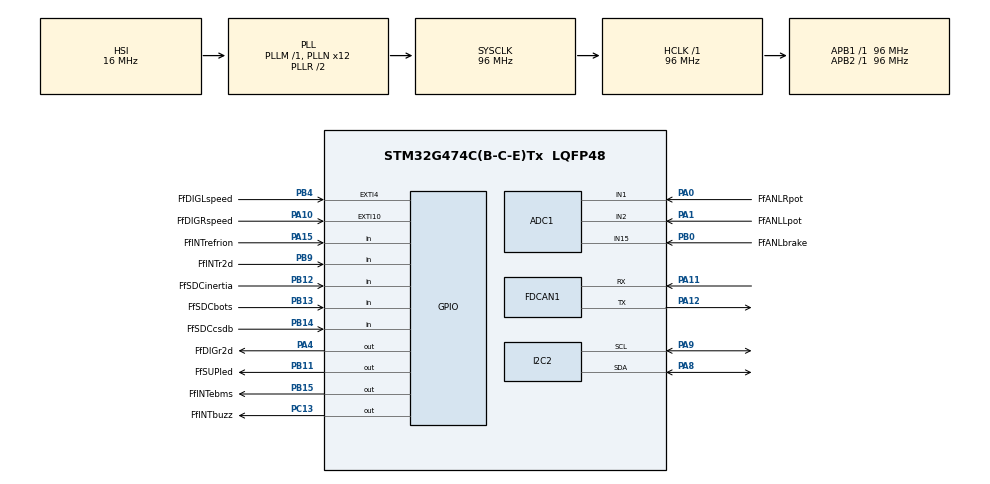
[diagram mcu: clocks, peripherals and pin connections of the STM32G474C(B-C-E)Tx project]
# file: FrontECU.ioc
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ADC1.Channel-0\#ChannelRegularConversion=ADC_CHANNEL_15
ADC1.Channel-1\#ChannelRegularConversion=ADC_CHANNEL_1
ADC1.Channel-2\#ChannelRegularConversion=ADC_CHANNEL_2
ADC1.ContinuousConvMode=ENABLE
ADC1.DMAContinuousRequests=ENABLE
ADC1.NbrOfConversion=3
ADC1.NbrOfConversionFlag=1
ADC1.OffsetNumber-0\#ChannelRegularConversion=ADC_OFFSET_NONE
ADC1.OffsetNumber-1\#ChannelRegularConversion=ADC_OFFSET_NONE
ADC1.OffsetNumber-2\#ChannelRegularConversion=ADC_OFFSET_NONE
ADC1.Overrun=ADC_OVR_DATA_OVERWRITTEN
ADC1.Rank-0\#ChannelRegularConversion=1
ADC1.Rank-1\#ChannelRegularConversion=2
ADC1.Rank-2\#ChannelRegularConversion=3
ADC1.SamplingTime-0\#ChannelRegularConversion=ADC_SAMPLETIME_247CYCLES_5
ADC1.SamplingTime-1\#ChannelRegularConversion=ADC_SAMPLETIME_247CYCLES_5
ADC1.SamplingTime-2\#ChannelRegularConversion=ADC_SAMPLETIME_247CYCLES_5
ADC1.master=1
Dma.ADC1.0.Direction=DMA_PERIPH_TO_MEMORY
Dma.ADC1.0.EventEnable=DISABLE
Dma.ADC1.0.Instance=DMA1_Channel1
Dma.ADC1.0.MemDataAlignment=DMA_MDATAALIGN_WORD
Dma.ADC1.0.MemInc=DMA_MINC_ENABLE
Dma.ADC1.0.Mode=DMA_CIRCULAR
Dma.ADC1.0.PeriphDataAlignment=DMA_PDATAALIGN_WORD
Dma.ADC1.0.PeriphInc=DMA_PINC_DISABLE
Dma.ADC1.0.Polarity=HAL_DMAMUX_REQ_GEN_RISING
Dma.ADC1.0.Priority=DMA_PRIORITY_LOW
Dma.ADC1.0.RequestNumber=1
Dma.ADC1.0.SignalID=NONE
Dma.ADC1.0.SyncEnable=DISABLE
Dma.ADC1.0.SyncPolarity=HAL_DMAMUX_SYNC_NO_EVENT
Dma.ADC1.0.SyncRequestNumber=1
Dma.ADC1.0.SyncSignalID=NONE
Dma.Request0=ADC1
FDCAN1.AutoRetransmission=ENABLE
FDCAN1.CalculateBaudRateNominal=250000
FDCAN1.CalculateTimeBitNominal=4000
FDCAN1.CalculateTimeQuantumNominal=250.0
FDCAN1.NominalPrescaler=12
FDCAN1.NominalTimeSeg1=13
FDCAN1.NominalTimeSeg2=2
I2C2.I2C_Coeff_DF=2
I2C2.I2C_Rise_Time=400
I2C2.Timing=0x00A03B51
Mcu.Family=STM32G4
Mcu.Name=STM32G474C(B-C-E)Tx
Mcu.Package=LQFP48
NVIC.DMA1_Channel1_IRQn=true\:0\:0\:false\:false\:true\:false\:true\:true
NVIC.EXTI15_10_IRQn=true\:0\:0\:false\:false\:true\:true\:true\:true
NVIC.EXTI4_IRQn=true\:0\:0\:false\:false\:true\:true\:true\:true
NVIC.FDCAN1_IT0_IRQn=true\:0\:0\:false\:false\:true\:true\:true\:true
NVIC.FDCAN1_IT1_IRQn=true\:0\:0\:false\:false\:true\:true\:true\:true
NVIC.PriorityGroup=NVIC_PRIORITYGROUP_4
PA0.GPIO_Label=FfANLRpot
PA0.Mode=IN1-Single-Ended
PA0.Signal=ADC1_IN1
PA1.GPIO_Label=FfANLLpot
PA1.Mode=IN2-Single-Ended
PA1.Signal=ADC1_IN2
PA10.GPIO_Label=FfDIGRspeed
PA10.GPIO_ModeDefaultEXTI=GPIO_MODE_IT_RISING_FALLING
PA10.Signal=GPXTI10
PA11.Mode=FDCAN_Activate
PA11.Signal=FDCAN1_RX
PA12.Mode=FDCAN_Activate
PA12.Signal=FDCAN1_TX
PA13.Mode=Trace_Asynchronous_SW
PA13.Signal=SYS_JTMS-SWDIO
PA14.Mode=Trace_Asynchronous_SW
PA14.Signal=SYS_JTCK-SWCLK
PA15.GPIO_Label=FfINTrefrion
PA15.Signal=GPIO_Input
PA4.GPIO_Label=FfDIGr2d
PA4.Signal=GPIO_Output
PA8.Mode=I2C
PA8.Signal=I2C2_SDA
PA9.Mode=I2C
PA9.Signal=I2C2_SCL
PB0.GPIO_Label=FfANLbrake
PB0.Mode=IN15-Single-Ended
PB0.Signal=ADC1_IN15
PB11.GPIO_Label=FfSUPled
PB11.Signal=GPIO_Output
PB12.GPIO_Label=FfSDCinertia
PB12.Signal=GPIO_Input
PB13.GPIO_Label=FfSDCbots
PB13.Signal=GPIO_Input
PB14.GPIO_Label=FfSDCcsdb
PB14.Signal=GPIO_Input
PB15.GPIO_Label=FfINTebms
PB15.Signal=GPIO_Output
PB3.Mode=Trace_Asynchronous_SW
PB3.Signal=SYS_JTDO-SWO
PB4.GPIO_Label=FfDIGLspeed
PB4.GPIO_ModeDefaultEXTI=GPIO_MODE_IT_RISING_FALLING
PB4.Signal=GPXTI4
PB9.GPIO_Label=FfINTr2d
PB9.Signal=GPIO_Input
PC13.GPIO_Label=FfINTbuzz
PC13.Signal=GPIO_Output
PF0-OSC_IN.Mode=HSE-External-Oscillator
PF0-OSC_IN.Signal=RCC_OSC_IN
PF1-OSC_OUT.Mode=HSE-External-Oscillator
PF1-OSC_OUT.Signal=RCC_OSC_OUT
ProjectManager.HeapSize=0x200
ProjectManager.StackSize=0x400
ProjectManager.TargetToolchain=STM32CubeIDE
RCC.ADC12Freq_Value=96000000
RCC.ADC345Freq_Value=96000000
RCC.AHBFreq_Value=96000000
RCC.APB1Freq_Value=96000000
RCC.APB1TimFreq_Value=96000000
RCC.APB2Freq_Value=96000000
RCC.APB2TimFreq_Value=96000000
RCC.CortexFreq_Value=96000000
RCC.EXTERNAL_CLOCK_VALUE=12288000
RCC.FDCANCLockSelection=RCC_FDCANCLKSOURCE_PLL
RCC.HCLKFreq_Value=96000000
RCC.HSE_VALUE=8000000
RCC.HSI48_VALUE=48000000
RCC.HSI_VALUE=16000000
RCC.I2C2CLockSelection=RCC_I2C2CLKSOURCE_HSI
RCC.LSE_VALUE=32768
RCC.PLLN=12
RCC.PLLQ=RCC_PLLQ_DIV4
RCC.SYSCLKFreq_VALUE=96000000
RCC.SYSCLKSource=RCC_SYSCLKSOURCE_PLLCLK
RCC.USBFreq_Value=48000000
RCC.VCOOutputFreq_Value=192000000
TIM1.Prescaler=96
TIM3.Prescaler=96
VP_SYS_VS_DBSignals.Mode=DisableDeadBatterySignals
VP_TIM1_VS_ClockSourceINT.Mode=Internal
VP_TIM3_VS_ClockSourceINT.Mode=Internal
board=custom

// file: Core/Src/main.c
/* USER CODE BEGIN Header */
/**
  ******************************************************************************
  * @file           : main.c
  * @brief          : Main program body
  ******************************************************************************
  * @attention
  *
  * Copyright (c) 2026 STMicroelectronics.
  * All rights reserved.
  *
  * This software is licensed under terms that can be found in the LICENSE file
  * in the root directory of this software component.
  * If no LICENSE file comes with this software, it is provided AS-IS.
  *
  ******************************************************************************
  */
/* USER CODE END Header */
#include "main.h"

/* USER CODE BEGIN Includes */
#include "f2p.h"
#include "can.h"
#include "p2f.h"
#include "i2c-lcd.h"
/* USER CODE END Includes */

ADC_HandleTypeDef hadc1;
DMA_HandleTypeDef hdma_adc1;

FDCAN_HandleTypeDef hfdcan1;

I2C_HandleTypeDef hi2c2;

TIM_HandleTypeDef htim1;
TIM_HandleTypeDef htim3;

/* USER CODE BEGIN PV */
#define ADCDMA_CH1 3
uint32_t DICCDMA[ADCDMA_CH1] = {0};
uint32_t LastCANSendTime = 0;
uint16_t numberOfCANMessagesSent=0;
#define TIMDMA_Buff 100
static volatile uint16_t TIMDMA1[100] = {0};
static volatile uint16_t TIMDMA3[100] = {0};

volatile DICCF_t DICCF = {0};
volatile DICCP_t DICCP = {0};

/* USER CODE END PV */

void SystemClock_Config(void);
static void MX_GPIO_Init(void);
static void MX_DMA_Init(void);
static void MX_FDCAN1_Init(void);
static void MX_ADC1_Init(void);
static void MX_I2C2_Init(void);
static void MX_TIM1_Init(void);
static void MX_TIM3_Init(void);

int main(void)
{

  /* MCU Configuration--------------------------------------------------------*/

  /* Reset of all peripherals, Initializes the Flash interface and the Systick. */
  HAL_Init();

  /* Configure the system clock */
  SystemClock_Config();

  /* Initialize all configured peripherals */
  MX_GPIO_Init();
  MX_DMA_Init();
  MX_FDCAN1_Init();
  MX_ADC1_Init();
  MX_I2C2_Init();
  MX_TIM1_Init();
  MX_TIM3_Init();
  /* USER CODE BEGIN 2 */

  CAN_Init_Custom(&hfdcan1);

  lcd_init();

  HAL_ADCEx_Calibration_Start(&hadc1, ADC_SINGLE_ENDED);

  HAL_ADC_Start_DMA(&hadc1, (uint32_t *)DICCDMA, 3);

  HAL_TIM_IC_Start_DMA(&htim1, TIM_CHANNEL_3, (uint32_t *)TIMDMA1, 100);
  HAL_TIM_IC_Start_DMA(&htim3, TIM_CHANNEL_1, (uint32_t *)TIMDMA3, 100);

  HAL_GPIO_WritePin(GPIOC, FfINTbuzz_Pin, GPIO_PIN_RESET);

  /* USER CODE END 2 */

  /* Infinite loop */
  while (1)
  {

    /* USER CODE BEGIN 3 */

	  HAL_GPIO_WritePin(GPIOB, FfSUPled_Pin, GPIO_PIN_SET);

	  uint8_t Msg1[5] = {0};
	  uint8_t Msg2[5] = {0};
	  uint8_t Msg3[4] = {0};

	  DIG2DICCF(&DICCF);

	  DMA2DICCF(&DICCF, DICCDMA);

	  DICCF2DICCP(&DICCF, &DICCP);

	  Get_Speed(&DICCP);

	  APPS(&DICCF, &DICCP);

	  R2D(&DICCF, &DICCP);

	  CAN_Msg_Maker(&DICCP, Msg1, Msg2, Msg3);

	  if((HAL_GetTick() - LastCANSendTime) >= 10)
	  	  {
		  	  CAN_Send(&hfdcan1, 0x100, Msg1, 5);

		  	  CAN_Send(&hfdcan1, 0x101, Msg2, 8);

		  	  CAN_Send(&hfdcan1, 0x102, Msg3, 3);

	  		  LastCANSendTime = HAL_GetTick();

	  		  numberOfCANMessagesSent++;

	  		  if(numberOfCANMessagesSent > 100)
	  		  {
	  			  /*HAL_GPIO_TogglePin(GPIOB, DfSUPled_Pin);*/
	  			  numberOfCANMessagesSent = 0;
	  		  }
	  	  }

	  PLC(&DICCP);

	  Display(&DICCF, &DICCP);

  }
  /* USER CODE END 3 */
}

void SystemClock_Config(void)
{
  RCC_OscInitTypeDef RCC_OscInitStruct = {0};
  RCC_ClkInitTypeDef RCC_ClkInitStruct = {0};

  /** Configure the main internal regulator output voltage
  */
  HAL_PWREx_ControlVoltageScaling(PWR_REGULATOR_VOLTAGE_SCALE1);

  /** Initializes the RCC Oscillators according to the specified parameters
  * in the RCC_OscInitTypeDef structure.
  */
  RCC_OscInitStruct.OscillatorType = RCC_OSCILLATORTYPE_HSI;
  RCC_OscInitStruct.HSIState = RCC_HSI_ON;
  RCC_OscInitStruct.HSICalibrationValue = RCC_HSICALIBRATION_DEFAULT;
  RCC_OscInitStruct.PLL.PLLState = RCC_PLL_ON;
  RCC_OscInitStruct.PLL.PLLSource = RCC_PLLSOURCE_HSI;
  RCC_OscInitStruct.PLL.PLLM = RCC_PLLM_DIV1;
  RCC_OscInitStruct.PLL.PLLN = 12;
  RCC_OscInitStruct.PLL.PLLP = RCC_PLLP_DIV2;
  RCC_OscInitStruct.PLL.PLLQ = RCC_PLLQ_DIV4;
  RCC_OscInitStruct.PLL.PLLR = RCC_PLLR_DIV2;
  if (HAL_RCC_OscConfig(&RCC_OscInitStruct) != HAL_OK)
  {
    Error_Handler();
  }

  /** Initializes the CPU, AHB and APB buses clocks
  */
  RCC_ClkInitStruct.ClockType = RCC_CLOCKTYPE_HCLK|RCC_CLOCKTYPE_SYSCLK
                              |RCC_CLOCKTYPE_PCLK1|RCC_CLOCKTYPE_PCLK2;
  RCC_ClkInitStruct.SYSCLKSource = RCC_SYSCLKSOURCE_PLLCLK;
  RCC_ClkInitStruct.AHBCLKDivider = RCC_SYSCLK_DIV1;
  RCC_ClkInitStruct.APB1CLKDivider = RCC_HCLK_DIV1;
  RCC_ClkInitStruct.APB2CLKDivider = RCC_HCLK_DIV1;

  if (HAL_RCC_ClockConfig(&RCC_ClkInitStruct, FLASH_LATENCY_3) != HAL_OK)
  {
    Error_Handler();
  }
}

static void MX_ADC1_Init(void)
{

  ADC_MultiModeTypeDef multimode = {0};
  ADC_ChannelConfTypeDef sConfig = {0};

  /** Common config
  */
  hadc1.Instance = ADC1;
  hadc1.Init.ClockPrescaler = ADC_CLOCK_SYNC_PCLK_DIV2;
  hadc1.Init.Resolution = ADC_RESOLUTION_12B;
  hadc1.Init.DataAlign = ADC_DATAALIGN_RIGHT;
  hadc1.Init.GainCompensation = 0;
  hadc1.Init.ScanConvMode = ADC_SCAN_ENABLE;
  hadc1.Init.EOCSelection = ADC_EOC_SINGLE_CONV;
  hadc1.Init.LowPowerAutoWait = DISABLE;
  hadc1.Init.ContinuousConvMode = ENABLE;
  hadc1.Init.NbrOfConversion = 3;
  hadc1.Init.DiscontinuousConvMode = DISABLE;
  hadc1.Init.ExternalTrigConv = ADC_SOFTWARE_START;
  hadc1.Init.ExternalTrigConvEdge = ADC_EXTERNALTRIGCONVEDGE_NONE;
  hadc1.Init.DMAContinuousRequests = ENABLE;
  hadc1.Init.Overrun = ADC_OVR_DATA_OVERWRITTEN;
  hadc1.Init.OversamplingMode = DISABLE;
  if (HAL_ADC_Init(&hadc1) != HAL_OK)
  {
    Error_Handler();
  }

  /** Configure the ADC multi-mode
  */
  multimode.Mode = ADC_MODE_INDEPENDENT;
  if (HAL_ADCEx_MultiModeConfigChannel(&hadc1, &multimode) != HAL_OK)
  {
    Error_Handler();
  }

  /** Configure Regular Channel
  */
  sConfig.Channel = ADC_CHANNEL_15;
  sConfig.Rank = ADC_REGULAR_RANK_1;
  sConfig.SamplingTime = ADC_SAMPLETIME_247CYCLES_5;
  sConfig.SingleDiff = ADC_SINGLE_ENDED;
  sConfig.OffsetNumber = ADC_OFFSET_NONE;
  sConfig.Offset = 0;
  if (HAL_ADC_ConfigChannel(&hadc1, &sConfig) != HAL_OK)
  {
    Error_Handler();
  }

  /** Configure Regular Channel
  */
  sConfig.Channel = ADC_CHANNEL_1;
  sConfig.Rank = ADC_REGULAR_RANK_2;
  if (HAL_ADC_ConfigChannel(&hadc1, &sConfig) != HAL_OK)
  {
    Error_Handler();
  }

  /** Configure Regular Channel
  */
  sConfig.Channel = ADC_CHANNEL_2;
  sConfig.Rank = ADC_REGULAR_RANK_3;
  if (HAL_ADC_ConfigChannel(&hadc1, &sConfig) != HAL_OK)
  {
    Error_Handler();
  }

}

static void MX_FDCAN1_Init(void)
{

  hfdcan1.Instance = FDCAN1;
  hfdcan1.Init.ClockDivider = FDCAN_CLOCK_DIV1;
  hfdcan1.Init.FrameFormat = FDCAN_FRAME_CLASSIC;
  hfdcan1.Init.Mode = FDCAN_MODE_NORMAL;
  hfdcan1.Init.AutoRetransmission = ENABLE;
  hfdcan1.Init.TransmitPause = DISABLE;
  hfdcan1.Init.ProtocolException = DISABLE;
  hfdcan1.Init.NominalPrescaler = 12;
  hfdcan1.Init.NominalSyncJumpWidth = 1;
  hfdcan1.Init.NominalTimeSeg1 = 13;
  hfdcan1.Init.NominalTimeSeg2 = 2;
  hfdcan1.Init.DataPrescaler = 1;
  hfdcan1.Init.DataSyncJumpWidth = 1;
  hfdcan1.Init.DataTimeSeg1 = 1;
  hfdcan1.Init.DataTimeSeg2 = 1;
  hfdcan1.Init.StdFiltersNbr = 0;
  hfdcan1.Init.ExtFiltersNbr = 0;
  hfdcan1.Init.TxFifoQueueMode = FDCAN_TX_FIFO_OPERATION;
  if (HAL_FDCAN_Init(&hfdcan1) != HAL_OK)
  {
    Error_Handler();
  }

}

static void MX_I2C2_Init(void)
{

  hi2c2.Instance = I2C2;
  hi2c2.Init.Timing = 0x00A03B51;
  hi2c2.Init.OwnAddress1 = 0;
  hi2c2.Init.AddressingMode = I2C_ADDRESSINGMODE_7BIT;
  hi2c2.Init.DualAddressMode = I2C_DUALADDRESS_DISABLE;
  hi2c2.Init.OwnAddress2 = 0;
  hi2c2.Init.OwnAddress2Masks = I2C_OA2_NOMASK;
  hi2c2.Init.GeneralCallMode = I2C_GENERALCALL_DISABLE;
  hi2c2.Init.NoStretchMode = I2C_NOSTRETCH_DISABLE;
  if (HAL_I2C_Init(&hi2c2) != HAL_OK)
  {
    Error_Handler();
  }

  /** Configure Analogue filter
  */
  if (HAL_I2CEx_ConfigAnalogFilter(&hi2c2, I2C_ANALOGFILTER_ENABLE) != HAL_OK)
  {
    Error_Handler();
  }

  /** Configure Digital filter
  */
  if (HAL_I2CEx_ConfigDigitalFilter(&hi2c2, 2) != HAL_OK)
  {
    Error_Handler();
  }

}

static void MX_TIM1_Init(void)
{

  TIM_ClockConfigTypeDef sClockSourceConfig = {0};
  TIM_MasterConfigTypeDef sMasterConfig = {0};

  htim1.Instance = TIM1;
  htim1.Init.Prescaler = 96;
  htim1.Init.CounterMode = TIM_COUNTERMODE_UP;
  htim1.Init.Period = 65535;
  htim1.Init.ClockDivision = TIM_CLOCKDIVISION_DIV1;
  htim1.Init.RepetitionCounter = 0;
  htim1.Init.AutoReloadPreload = TIM_AUTORELOAD_PRELOAD_DISABLE;
  if (HAL_TIM_Base_Init(&htim1) != HAL_OK)
  {
    Error_Handler();
  }
  sClockSourceConfig.ClockSource = TIM_CLOCKSOURCE_INTERNAL;
  if (HAL_TIM_ConfigClockSource(&htim1, &sClockSourceConfig) != HAL_OK)
  {
    Error_Handler();
  }
  sMasterConfig.MasterOutputTrigger = TIM_TRGO_RESET;
  sMasterConfig.MasterOutputTrigger2 = TIM_TRGO2_RESET;
  sMasterConfig.MasterSlaveMode = TIM_MASTERSLAVEMODE_DISABLE;
  if (HAL_TIMEx_MasterConfigSynchronization(&htim1, &sMasterConfig) != HAL_OK)
  {
    Error_Handler();
  }

}

static void MX_TIM3_Init(void)
{

  TIM_ClockConfigTypeDef sClockSourceConfig = {0};
  TIM_MasterConfigTypeDef sMasterConfig = {0};

  htim3.Instance = TIM3;
  htim3.Init.Prescaler = 96;
  htim3.Init.CounterMode = TIM_COUNTERMODE_UP;
  htim3.Init.Period = 65535;
  htim3.Init.ClockDivision = TIM_CLOCKDIVISION_DIV1;
  htim3.Init.AutoReloadPreload = TIM_AUTORELOAD_PRELOAD_DISABLE;
  if (HAL_TIM_Base_Init(&htim3) != HAL_OK)
  {
    Error_Handler();
  }
  sClockSourceConfig.ClockSource = TIM_CLOCKSOURCE_INTERNAL;
  if (HAL_TIM_ConfigClockSource(&htim3, &sClockSourceConfig) != HAL_OK)
  {
    Error_Handler();
  }
  sMasterConfig.MasterOutputTrigger = TIM_TRGO_RESET;
  sMasterConfig.MasterSlaveMode = TIM_MASTERSLAVEMODE_DISABLE;
  if (HAL_TIMEx_MasterConfigSynchronization(&htim3, &sMasterConfig) != HAL_OK)
  {
    Error_Handler();
  }

}

static void MX_DMA_Init(void)
{

  /* DMA controller clock enable */
  __HAL_RCC_DMAMUX1_CLK_ENABLE();
  __HAL_RCC_DMA1_CLK_ENABLE();

  /* DMA interrupt init */
  /* DMA1_Channel1_IRQn interrupt configuration */
  HAL_NVIC_SetPriority(DMA1_Channel1_IRQn, 0, 0);
  HAL_NVIC_EnableIRQ(DMA1_Channel1_IRQn);

}

static void MX_GPIO_Init(void)
{
  GPIO_InitTypeDef GPIO_InitStruct = {0};

  /* GPIO Ports Clock Enable */
  __HAL_RCC_GPIOC_CLK_ENABLE();
  __HAL_RCC_GPIOF_CLK_ENABLE();
  __HAL_RCC_GPIOA_CLK_ENABLE();
  __HAL_RCC_GPIOB_CLK_ENABLE();

  /*Configure GPIO pin Output Level */
  HAL_GPIO_WritePin(FfINTbuzz_GPIO_Port, FfINTbuzz_Pin, GPIO_PIN_RESET);

  /*Configure GPIO pin Output Level */
  HAL_GPIO_WritePin(FfDIGr2d_GPIO_Port, FfDIGr2d_Pin, GPIO_PIN_RESET);

  /*Configure GPIO pin Output Level */
  HAL_GPIO_WritePin(GPIOB, FfSUPled_Pin|FfINTebms_Pin, GPIO_PIN_RESET);

  /*Configure GPIO pin : FfINTbuzz_Pin */
  GPIO_InitStruct.Pin = FfINTbuzz_Pin;
  GPIO_InitStruct.Mode = GPIO_MODE_OUTPUT_PP;
  GPIO_InitStruct.Pull = GPIO_NOPULL;
  GPIO_InitStruct.Speed = GPIO_SPEED_FREQ_LOW;
  HAL_GPIO_Init(FfINTbuzz_GPIO_Port, &GPIO_InitStruct);

  /*Configure GPIO pin : FfDIGr2d_Pin */
  GPIO_InitStruct.Pin = FfDIGr2d_Pin;
  GPIO_InitStruct.Mode = GPIO_MODE_OUTPUT_PP;
  GPIO_InitStruct.Pull = GPIO_NOPULL;
  GPIO_InitStruct.Speed = GPIO_SPEED_FREQ_LOW;
  HAL_GPIO_Init(FfDIGr2d_GPIO_Port, &GPIO_InitStruct);

  /*Configure GPIO pins : FfSUPled_Pin FfINTebms_Pin */
  GPIO_InitStruct.Pin = FfSUPled_Pin|FfINTebms_Pin;
  GPIO_InitStruct.Mode = GPIO_MODE_OUTPUT_PP;
  GPIO_InitStruct.Pull = GPIO_NOPULL;
  GPIO_InitStruct.Speed = GPIO_SPEED_FREQ_LOW;
  HAL_GPIO_Init(GPIOB, &GPIO_InitStruct);

  /*Configure GPIO pins : FfSDCinertia_Pin FfSDCbots_Pin FfSDCcsdb_Pin FfINTr2d_Pin */
  GPIO_InitStruct.Pin = FfSDCinertia_Pin|FfSDCbots_Pin|FfSDCcsdb_Pin|FfINTr2d_Pin;
  GPIO_InitStruct.Mode = GPIO_MODE_INPUT;
  GPIO_InitStruct.Pull = GPIO_NOPULL;
  HAL_GPIO_Init(GPIOB, &GPIO_InitStruct);

  /*Configure GPIO pin : FfDIGRspeed_Pin */
  GPIO_InitStruct.Pin = FfDIGRspeed_Pin;
  GPIO_InitStruct.Mode = GPIO_MODE_IT_RISING_FALLING;
  GPIO_InitStruct.Pull = GPIO_NOPULL;
  HAL_GPIO_Init(FfDIGRspeed_GPIO_Port, &GPIO_InitStruct);

  /*Configure GPIO pin : FfINTrefrion_Pin */
  GPIO_InitStruct.Pin = FfINTrefrion_Pin;
  GPIO_InitStruct.Mode = GPIO_MODE_INPUT;
  GPIO_InitStruct.Pull = GPIO_NOPULL;
  HAL_GPIO_Init(FfINTrefrion_GPIO_Port, &GPIO_InitStruct);

  /*Configure GPIO pin : FfDIGLspeed_Pin */
  GPIO_InitStruct.Pin = FfDIGLspeed_Pin;
  GPIO_InitStruct.Mode = GPIO_MODE_IT_RISING_FALLING;
  GPIO_InitStruct.Pull = GPIO_NOPULL;
  HAL_GPIO_Init(FfDIGLspeed_GPIO_Port, &GPIO_InitStruct);

  /* EXTI interrupt init*/
  HAL_NVIC_SetPriority(EXTI4_IRQn, 0, 0);
  HAL_NVIC_EnableIRQ(EXTI4_IRQn);

  HAL_NVIC_SetPriority(EXTI15_10_IRQn, 0, 0);
  HAL_NVIC_EnableIRQ(EXTI15_10_IRQn);

}

void Error_Handler(void)
{
  __disable_irq();
  while (1)
  {
  }
}
